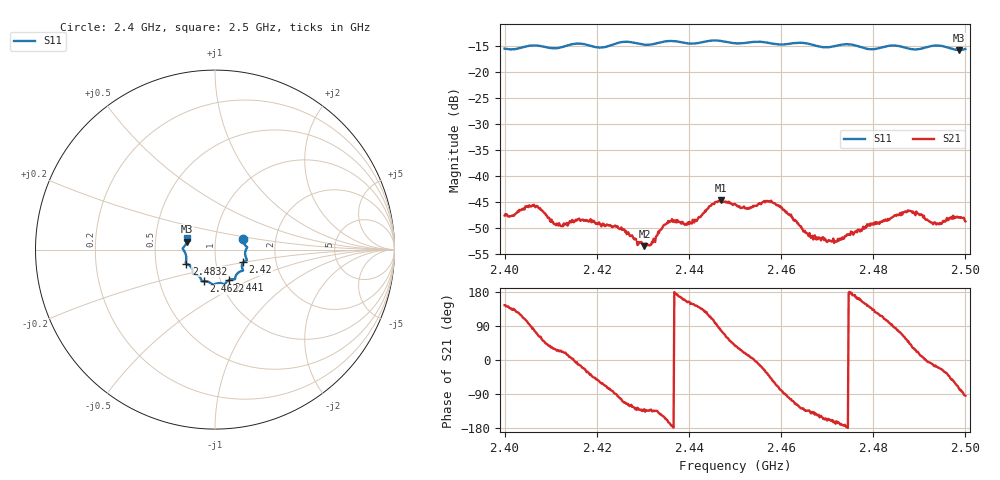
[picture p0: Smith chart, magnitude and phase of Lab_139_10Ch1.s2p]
# Hz S RI R 50
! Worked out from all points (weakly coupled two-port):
!   601 points, 2.4 GHz to 2.5 GHz, reference 50 ohm
!   highest |S21| = -44.54 dB at 2.447 GHz (marker M1); lowest = -53.4 dB at 2.4303 GHz (marker M2)
!   lowest |S11| = -15.8 dB at 2.4987 GHz (marker M3), VSWR 1.39, Z = 36.4 + j3.36 ohm
!   |S11| at or under -10 dB: start of sweep to end of sweep
!   S12 and S22 are empty: the file has one direction only
!   S11 on the Smith chart (normalised r, x): 2.4 GHz: 1.36, +0.17; 2.42 GHz: 1.36, -0.20; 2.441 GHz: 1.09, -0.39; 2.4622 GHz: 0.83, -0.30; 2.4832 GHz: 0.72, -0.12; 2.5 GHz: 0.73, +0.09
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2.4e9  0.1564 0.0598  -0.00343 0.00242  0 0  0 0
2.4065e9  0.1795 0.0127  0.0012 0.00508  0 0  0 0
2.411167e9  0.1677 -0.0211  0.00301 0.00155  0 0  0 0
2.416667e9  0.1773 -0.0583  0.00363 -0.00115  0 0  0 0
2.42e9  0.1569 -0.0712  0.00224 -0.00276  0 0  0 0
2.4255e9  0.1567 -0.1143  -0.000944 -0.0029  0 0  0 0
2.430333e9  0.1312 -0.1273  -0.00137 -0.00163  0 0  0 0
2.433333e9  0.1133 -0.1526  -0.0022 -0.00195  0 0  0 0
2.435833e9  0.1108 -0.1646  -0.00359 -0.000819  0 0  0 0
2.441e9  0.0766 -0.1709  -0.00307 0.00199  0 0  0 0
2.447e9  0.0482 -0.1923  0.00127 0.00579  0 0  0 0
2.45e9  0.0262 -0.1869  0.00432 0.0033  0 0  0 0
2.457333e9  -0.0207 -0.1888  0.00437 -0.00374  0 0  0 0
2.462167e9  -0.0632 -0.1765  -0.000974 -0.00417  0 0  0 0
2.466667e9  -0.0767 -0.1665  -0.00194 -0.00181  0 0  0 0
2.472e9  -0.1149 -0.1367  -0.00224 -0.000745  0 0  0 0
2.483167e9  -0.1596 -0.0781  -0.000843 0.00381  0 0  0 0
2.483333e9  -0.1604 -0.0777  -0.000591 0.00374  0 0  0 0
2.487833e9  -0.1597 -0.0495  0.00336 0.00324  0 0  0 0
2.494167e9  -0.1792 0.00734  0.00325 -0.00123  0 0  0 0
2.498667e9  -0.156 0.045  0.000944 -0.00392  0 0  0 0
2.5e9  -0.1535 0.0632  -0.000268 -0.00368  0 0  0 0
